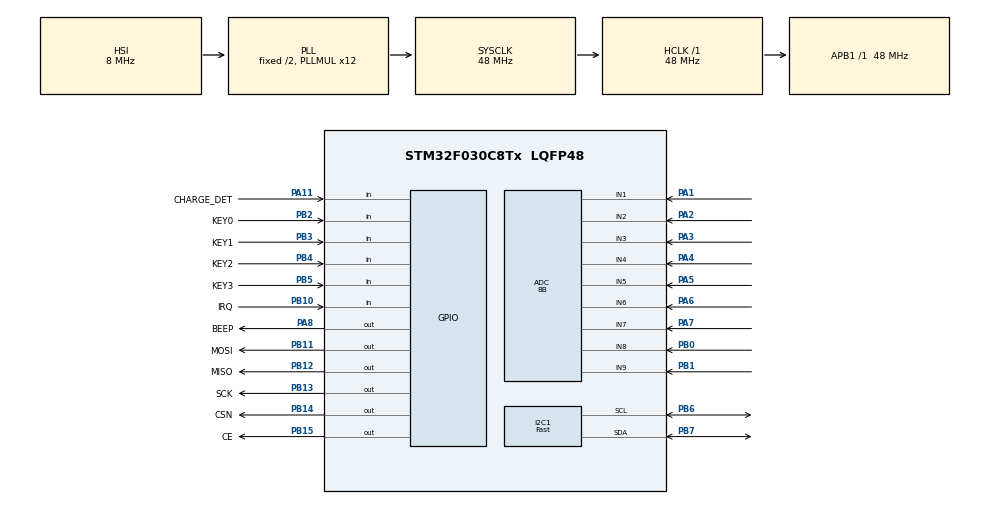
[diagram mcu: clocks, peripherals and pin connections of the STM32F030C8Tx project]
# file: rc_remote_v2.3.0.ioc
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ADC.AWD1LowThreshold=0
ADC.Channel-0\#ChannelRegularConversion=ADC_CHANNEL_1
ADC.Channel-1\#ChannelRegularConversion=ADC_CHANNEL_2
ADC.Channel-2\#ChannelRegularConversion=ADC_CHANNEL_3
ADC.Channel-3\#ChannelRegularConversion=ADC_CHANNEL_4
ADC.Channel-4\#ChannelRegularConversion=ADC_CHANNEL_5
ADC.Channel-5\#ChannelRegularConversion=ADC_CHANNEL_6
ADC.Channel-6\#ChannelRegularConversion=ADC_CHANNEL_7
ADC.Channel-7\#ChannelRegularConversion=ADC_CHANNEL_8
ADC.Channel-8\#ChannelRegularConversion=ADC_CHANNEL_9
ADC.Channel-IN1=ADC_CHANNEL_1
ADC.Channel-IN2=ADC_CHANNEL_2
ADC.Channel-IN3=ADC_CHANNEL_3
ADC.Channel-IN4=ADC_CHANNEL_4
ADC.Channel-IN5=ADC_CHANNEL_5
ADC.Channel-IN6=ADC_CHANNEL_6
ADC.Channel-IN7=ADC_CHANNEL_7
ADC.Channel-IN8=ADC_CHANNEL_8
ADC.Channel-IN9=ADC_CHANNEL_9
ADC.ClockPrescaler=ADC_CLOCK_ASYNC_DIV1
ADC.ContinuousConvMode=ENABLE
ADC.DMAContinuousRequests=ENABLE
ADC.DataAlign=ADC_DATAALIGN_RIGHT
ADC.DiscontinuousConvMode=DISABLE
ADC.EOCSelection=ADC_EOC_SINGLE_CONV
ADC.EnableAnalogWatchDog=false
ADC.ExternalTrigConv=ADC_SOFTWARE_START
ADC.ExternalTrigConvEdge=ADC_EXTERNALTRIGCONVEDGE_NONE
ADC.LowPowerAutoPowerOff=DISABLE
ADC.LowPowerAutoWait=DISABLE
ADC.NbrOfConversion=9
ADC.NbrOfConversionFlag=1
ADC.Overrun=ADC_OVR_DATA_PRESERVED
ADC.Rank-0\#ChannelRegularConversion=1
ADC.Rank-1\#ChannelRegularConversion=2
ADC.Rank-2\#ChannelRegularConversion=3
ADC.Rank-3\#ChannelRegularConversion=4
ADC.Rank-4\#ChannelRegularConversion=5
ADC.Rank-5\#ChannelRegularConversion=6
ADC.Rank-6\#ChannelRegularConversion=7
ADC.Rank-7\#ChannelRegularConversion=8
ADC.Rank-8\#ChannelRegularConversion=9
ADC.Resolution=ADC_RESOLUTION_8B
ADC.SamplingTime=ADC_SAMPLETIME_239CYCLES_5
ADC.ScanConvMode=ADC_SCAN_DIRECTION_FORWARD
ADC.master=1
Dma.ADC.0.Direction=DMA_PERIPH_TO_MEMORY
Dma.ADC.0.Instance=DMA1_Channel1
Dma.ADC.0.MemDataAlignment=DMA_MDATAALIGN_BYTE
Dma.ADC.0.MemInc=DMA_MINC_ENABLE
Dma.ADC.0.Mode=DMA_CIRCULAR
Dma.ADC.0.PeriphDataAlignment=DMA_PDATAALIGN_BYTE
Dma.ADC.0.PeriphInc=DMA_PINC_DISABLE
Dma.ADC.0.Priority=DMA_PRIORITY_LOW
Dma.Request0=ADC
I2C1.AddressingMode=I2C_ADDRESSINGMODE_7BIT
I2C1.Analog_Filter=I2C_ANALOGFILTER_ENABLE
I2C1.DualAddressMode=I2C_DUALADDRESS_DISABLE
I2C1.GeneralCallMode=I2C_GENERALCALL_DISABLE
I2C1.I2C_Coeff_DF=0
I2C1.I2C_Fall_Time=0
I2C1.I2C_Rise_Time=0
I2C1.I2C_Speed_Mode=I2C_Fast
I2C1.NoStretchMode=I2C_NOSTRETCH_DISABLE
I2C1.OwnAddress=0
I2C1.Speed=400
I2C1.Timing=0x0000020B
Mcu.Family=STM32F0
Mcu.Name=STM32F030C8Tx
Mcu.Package=LQFP48
NVIC.DMA1_Channel1_IRQn=true\:0\:0\:false\:false\:true\:false\:true\:true
NVIC.TIM16_IRQn=true\:0\:0\:false\:false\:true\:true\:true\:true
PA1.Mode=IN1
PA1.Signal=ADC_IN1
PA11.GPIO_Label=CHARGE_DET
PA11.GPIO_PuPd=GPIO_PULLUP
PA11.Signal=GPIO_Input
PA13.Mode=Serial_Wire
PA13.Signal=SYS_SWDIO
PA14.Mode=Serial_Wire
PA14.Signal=SYS_SWCLK
PA2.Mode=IN2
PA2.Signal=ADC_IN2
PA3.Mode=IN3
PA3.Signal=ADC_IN3
PA4.Mode=IN4
PA4.Signal=ADC_IN4
PA5.Mode=IN5
PA5.Signal=ADC_IN5
PA6.Mode=IN6
PA6.Signal=ADC_IN6
PA7.Mode=IN7
PA7.Signal=ADC_IN7
PA8.GPIO_Label=BEEP
PA8.PinState=GPIO_PIN_RESET
PA8.Signal=GPIO_Output
PB0.Mode=IN8
PB0.Signal=ADC_IN8
PB1.Mode=IN9
PB1.Signal=ADC_IN9
PB10.GPIO_Label=IRQ
PB10.Signal=GPIO_Input
PB11.GPIO_Label=MOSI
PB11.Signal=GPIO_Output
PB12.GPIO_Label=MISO
PB12.GPIO_PuPd=GPIO_NOPULL
PB12.GPIO_Speed=GPIO_SPEED_FREQ_HIGH
PB12.PinState=GPIO_PIN_SET
PB12.Signal=GPIO_Output
PB13.GPIO_Label=SCK
PB13.GPIO_Speed=GPIO_SPEED_FREQ_HIGH
PB13.PinState=GPIO_PIN_SET
PB13.Signal=GPIO_Output
PB14.GPIO_Label=CSN
PB14.Signal=GPIO_Output
PB15.GPIO_Label=CE
PB15.Signal=GPIO_Output
PB2.GPIO_Label=KEY0
PB2.GPIO_PuPd=GPIO_PULLUP
PB2.Signal=GPIO_Input
PB3.GPIO_Label=KEY1
PB3.GPIO_PuPd=GPIO_PULLUP
PB3.Signal=GPIO_Input
PB4.GPIO_Label=KEY2
PB4.GPIO_PuPd=GPIO_PULLUP
PB4.Signal=GPIO_Input
PB5.GPIO_Label=KEY3
PB5.GPIO_PuPd=GPIO_PULLUP
PB5.Signal=GPIO_Input
PB6.GPIO_Pu=GPIO_PULLUP
PB6.Mode=I2C
PB6.Signal=I2C1_SCL
PB7.GPIO_Pu=GPIO_PULLUP
PB7.Mode=I2C
PB7.Signal=I2C1_SDA
ProjectManager.HeapSize=0x0
ProjectManager.StackSize=0x400
ProjectManager.TargetToolchain=MDK-ARM V5
RCC.AHBFreq_Value=48000000
RCC.APB1Freq_Value=48000000
RCC.APB1TimFreq_Value=48000000
RCC.FLatency=FLASH_LATENCY_1
RCC.HCLKFreq_Value=48000000
RCC.PLLMUL=RCC_PLL_MUL12
RCC.SYSCLKFreq_VALUE=48000000
RCC.SYSCLKSource=RCC_SYSCLKSOURCE_PLLCLK
TIM16.AutoReloadPreload=TIM_AUTORELOAD_PRELOAD_ENABLE
TIM16.ClockDivision=TIM_CLOCKDIVISION_DIV1
TIM16.CounterMode=TIM_COUNTERMODE_UP
TIM16.Period=10000
TIM16.Prescaler=47
TIM16.RepetitionCounter=0
VP_TIM16_VS_ClockSourceINT.Mode=Enable_Timer
board=custom

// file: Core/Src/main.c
/* USER CODE BEGIN Header */
/**
  ******************************************************************************
  * @file           : main.c
  * @brief          : Main program body
  ******************************************************************************
  * @attention
  *
  * Copyright (c) 2024 STMicroelectronics.
  * All rights reserved.
  *
  * This software is licensed under terms that can be found in the LICENSE file
  * in the root directory of this software component.
  * If no LICENSE file comes with this software, it is provided AS-IS.
  *
  ******************************************************************************
  */
/* USER CODE END Header */
#include "main.h"

/* USER CODE BEGIN Includes */
#include "ci24r1.h"
#include "stdio.h"
#include "SEGGER_RTT.h"
#include "gui.h"

/* USER CODE END Includes */

ADC_HandleTypeDef hadc;
DMA_HandleTypeDef hdma_adc;

I2C_HandleTypeDef hi2c1;

TIM_HandleTypeDef htim16;

void SystemClock_Config(void);
static void MX_GPIO_Init(void);
static void MX_DMA_Init(void);
static void MX_ADC_Init(void);
static void MX_I2C1_Init(void);
static void MX_TIM16_Init(void);

/* USER CODE BEGIN 0 */

#define ADC_CH_CNT 9
#define ADC_AVG_CNT 5

uint8_t adc_value[ADC_CH_CNT * ADC_AVG_CNT] = {0}; // adc dma buffer
void print_buf(uint8_t *buf, uint8_t buflen)
{
  for (int i = 0; i < buflen; i++)
  {
    SEGGER_RTT_printf(0, "%d ", buf[i]);
  }
  SEGGER_RTT_printf(0, "\r\n");
}
u8 adc_get_val(u8 idx)
{
	int sum = 0;
  for(int i=0; i<ADC_AVG_CNT; i++)
  {
    sum += adc_value[idx + i * ADC_CH_CNT];
  }
  return sum/ADC_AVG_CNT;
}

uint8_t TX_ADDRESS[5] = {0x34, 0x43, 0x10, 0x10, 0x01};
uint8_t RX_ADDRESS[5] = {0x34, 0x43, 0x10, 0x10, 0x01};
u8 ci24r1_ready_flag = 0;
uint8_t TxBuf[32] = {0x00}; // nrf sendbuffer

uint8_t ackpayload[32] = {0};
uint8_t ackpayloadlen = 0;

//run in tim interrupt. less time use!!!
void tim_working(void)
{
  static uint32_t timelast = 0;
  uint32_t now = HAL_GetTick();
  if(abs(now - timelast) > 20)
  {
		timelast = now;
    //send ci24r1 packet!!!
    if(ci24r1_ready_flag)
    {
      TxBuf[0] = adc_get_val(0);
      TxBuf[1] = adc_get_val(1);
      TxBuf[2] = 255 - adc_get_val(2);
      TxBuf[3] = 255 - adc_get_val(3);
      TxBuf[4] = adc_get_val(5);
      TxBuf[5] = 255 - adc_get_val(4);
      TxBuf[6] = 255 - adc_get_val(7);
      TxBuf[7] = adc_get_val(6);

      uint8_t rc = CI24R1_Tx(TxBuf, 8);
      CI24R1_ReadACKPload(ackpayload, &ackpayloadlen);
    }

  }
}
/* USER CODE END 0 */

int main(void)
{

  /* MCU Configuration--------------------------------------------------------*/

  /* Reset of all peripherals, Initializes the Flash interface and the Systick. */
  HAL_Init();

  /* Configure the system clock */
  SystemClock_Config();

  /* USER CODE BEGIN SysInit */

  HAL_Delay(100);
  SEGGER_RTT_printf(0, "board init\r\n");
  /* USER CODE END SysInit */

  /* Initialize all configured peripherals */
  MX_GPIO_Init();
  MX_DMA_Init();
  MX_ADC_Init();
  MX_I2C1_Init();
  MX_TIM16_Init();
  /* USER CODE BEGIN 2 */

  gui_init();

  if(HAL_ERROR == HAL_ADCEx_Calibration_Start(&hadc))
  {
    SEGGER_RTT_printf(0, "ADC Calibration error\r\n");
  }
  HAL_ADC_Start_DMA(&hadc, (uint32_t *)adc_value, ADC_CH_CNT * ADC_AVG_CNT);

  while (CI24R1_SPI_Test() == HAL_ERROR)
  {
    HAL_GPIO_WritePin(GPIOA, GPIO_PIN_8, GPIO_PIN_SET);
    HAL_Delay(20);
    HAL_GPIO_WritePin(GPIOA, GPIO_PIN_8, GPIO_PIN_RESET);
    HAL_Delay(1000);
  }
  SEGGER_RTT_printf(0, "ci24r1 test succ\r\n");
  HAL_GPIO_WritePin(GPIOA, GPIO_PIN_8, GPIO_PIN_SET);
  HAL_Delay(100);
  HAL_GPIO_WritePin(GPIOA, GPIO_PIN_8, GPIO_PIN_RESET);

  /* USER CODE END 2 */

  /* Infinite loop */
  /* USER CODE BEGIN WHILE */

  CI24R1_Init();
  CI24R1_SetChannel(122);
  CI24R1_SetTxMode();
  CI24R1_SetTxAddress(TX_ADDRESS);
  CI24R1_SetRxAddress(RX_ADDRESS);
  // Initialization values avoid motor malfunction
  memset(TxBuf, 128, 10);
  ci24r1_ready_flag = 1;

  HAL_TIM_Base_Start_IT(&htim16);
  //uint8_t buflen;
  while (1)
  {
    /* USER CODE END WHILE */

    /* USER CODE BEGIN 3 */

#if 1
    //SEGGER_RTT_printf(0, "tx rc:%#x ackload:%d\r\n", rc,ackpayloadlen);
    //print_buf(ackpayload, ackpayloadlen);

		show_tx_vcc(adc_get_val(8), 0);
    if(ackpayload[1] != 0)
    {
      show_rx_vcc(ackpayload[1], 0);
    }
		if(ackpayload[2] != 0)
    {
      //show_rx_current(ackpayload[0], 0);
      show_rx_limit(ackpayload[2], 0);
    }

#else
    uint8_t rc = CI24R1_Rx(TxBuf, &buflen);
    SEGGER_RTT_printf(0, "rx:%#x\r\n", rc);
    print_buf(TxBuf, buflen);
#endif

    HAL_Delay(50);
  }
  /* USER CODE END 3 */
}

void SystemClock_Config(void)
{
  RCC_OscInitTypeDef RCC_OscInitStruct = {0};
  RCC_ClkInitTypeDef RCC_ClkInitStruct = {0};
  RCC_PeriphCLKInitTypeDef PeriphClkInit = {0};

  /** Initializes the RCC Oscillators according to the specified parameters
  * in the RCC_OscInitTypeDef structure.
  */
  RCC_OscInitStruct.OscillatorType = RCC_OSCILLATORTYPE_HSI|RCC_OSCILLATORTYPE_HSI14;
  RCC_OscInitStruct.HSIState = RCC_HSI_ON;
  RCC_OscInitStruct.HSI14State = RCC_HSI14_ON;
  RCC_OscInitStruct.HSICalibrationValue = RCC_HSICALIBRATION_DEFAULT;
  RCC_OscInitStruct.HSI14CalibrationValue = 16;
  RCC_OscInitStruct.PLL.PLLState = RCC_PLL_ON;
  RCC_OscInitStruct.PLL.PLLSource = RCC_PLLSOURCE_HSI;
  RCC_OscInitStruct.PLL.PLLMUL = RCC_PLL_MUL12;
  RCC_OscInitStruct.PLL.PREDIV = RCC_PREDIV_DIV1;
  if (HAL_RCC_OscConfig(&RCC_OscInitStruct) != HAL_OK)
  {
    Error_Handler();
  }

  /** Initializes the CPU, AHB and APB buses clocks
  */
  RCC_ClkInitStruct.ClockType = RCC_CLOCKTYPE_HCLK|RCC_CLOCKTYPE_SYSCLK
                              |RCC_CLOCKTYPE_PCLK1;
  RCC_ClkInitStruct.SYSCLKSource = RCC_SYSCLKSOURCE_PLLCLK;
  RCC_ClkInitStruct.AHBCLKDivider = RCC_SYSCLK_DIV1;
  RCC_ClkInitStruct.APB1CLKDivider = RCC_HCLK_DIV1;

  if (HAL_RCC_ClockConfig(&RCC_ClkInitStruct, FLASH_LATENCY_1) != HAL_OK)
  {
    Error_Handler();
  }
  PeriphClkInit.PeriphClockSelection = RCC_PERIPHCLK_I2C1;
  PeriphClkInit.I2c1ClockSelection = RCC_I2C1CLKSOURCE_HSI;
  if (HAL_RCCEx_PeriphCLKConfig(&PeriphClkInit) != HAL_OK)
  {
    Error_Handler();
  }
}

static void MX_ADC_Init(void)
{

  ADC_ChannelConfTypeDef sConfig = {0};

  /** Configure the global features of the ADC (Clock, Resolution, Data Alignment and number of conversion)
  */
  hadc.Instance = ADC1;
  hadc.Init.ClockPrescaler = ADC_CLOCK_ASYNC_DIV1;
  hadc.Init.Resolution = ADC_RESOLUTION_8B;
  hadc.Init.DataAlign = ADC_DATAALIGN_RIGHT;
  hadc.Init.ScanConvMode = ADC_SCAN_DIRECTION_FORWARD;
  hadc.Init.EOCSelection = ADC_EOC_SINGLE_CONV;
  hadc.Init.LowPowerAutoWait = DISABLE;
  hadc.Init.LowPowerAutoPowerOff = DISABLE;
  hadc.Init.ContinuousConvMode = ENABLE;
  hadc.Init.DiscontinuousConvMode = DISABLE;
  hadc.Init.ExternalTrigConv = ADC_SOFTWARE_START;
  hadc.Init.ExternalTrigConvEdge = ADC_EXTERNALTRIGCONVEDGE_NONE;
  hadc.Init.DMAContinuousRequests = ENABLE;
  hadc.Init.Overrun = ADC_OVR_DATA_PRESERVED;
  if (HAL_ADC_Init(&hadc) != HAL_OK)
  {
    Error_Handler();
  }

  /** Configure for the selected ADC regular channel to be converted.
  */
  sConfig.Channel = ADC_CHANNEL_1;
  sConfig.Rank = ADC_RANK_CHANNEL_NUMBER;
  sConfig.SamplingTime = ADC_SAMPLETIME_239CYCLES_5;
  if (HAL_ADC_ConfigChannel(&hadc, &sConfig) != HAL_OK)
  {
    Error_Handler();
  }

  /** Configure for the selected ADC regular channel to be converted.
  */
  sConfig.Channel = ADC_CHANNEL_2;
  if (HAL_ADC_ConfigChannel(&hadc, &sConfig) != HAL_OK)
  {
    Error_Handler();
  }

  /** Configure for the selected ADC regular channel to be converted.
  */
  sConfig.Channel = ADC_CHANNEL_3;
  if (HAL_ADC_ConfigChannel(&hadc, &sConfig) != HAL_OK)
  {
    Error_Handler();
  }

  /** Configure for the selected ADC regular channel to be converted.
  */
  sConfig.Channel = ADC_CHANNEL_4;
  if (HAL_ADC_ConfigChannel(&hadc, &sConfig) != HAL_OK)
  {
    Error_Handler();
  }

  /** Configure for the selected ADC regular channel to be converted.
  */
  sConfig.Channel = ADC_CHANNEL_5;
  if (HAL_ADC_ConfigChannel(&hadc, &sConfig) != HAL_OK)
  {
    Error_Handler();
  }

  /** Configure for the selected ADC regular channel to be converted.
  */
  sConfig.Channel = ADC_CHANNEL_6;
  if (HAL_ADC_ConfigChannel(&hadc, &sConfig) != HAL_OK)
  {
    Error_Handler();
  }

  /** Configure for the selected ADC regular channel to be converted.
  */
  sConfig.Channel = ADC_CHANNEL_7;
  if (HAL_ADC_ConfigChannel(&hadc, &sConfig) != HAL_OK)
  {
    Error_Handler();
  }

  /** Configure for the selected ADC regular channel to be converted.
  */
  sConfig.Channel = ADC_CHANNEL_8;
  if (HAL_ADC_ConfigChannel(&hadc, &sConfig) != HAL_OK)
  {
    Error_Handler();
  }

  /** Configure for the selected ADC regular channel to be converted.
  */
  sConfig.Channel = ADC_CHANNEL_9;
  if (HAL_ADC_ConfigChannel(&hadc, &sConfig) != HAL_OK)
  {
    Error_Handler();
  }

}

static void MX_I2C1_Init(void)
{

  hi2c1.Instance = I2C1;
  hi2c1.Init.Timing = 0x0000020B;
  hi2c1.Init.OwnAddress1 = 0;
  hi2c1.Init.AddressingMode = I2C_ADDRESSINGMODE_7BIT;
  hi2c1.Init.DualAddressMode = I2C_DUALADDRESS_DISABLE;
  hi2c1.Init.OwnAddress2 = 0;
  hi2c1.Init.OwnAddress2Masks = I2C_OA2_NOMASK;
  hi2c1.Init.GeneralCallMode = I2C_GENERALCALL_DISABLE;
  hi2c1.Init.NoStretchMode = I2C_NOSTRETCH_DISABLE;
  if (HAL_I2C_Init(&hi2c1) != HAL_OK)
  {
    Error_Handler();
  }

  /** Configure Analogue filter
  */
  if (HAL_I2CEx_ConfigAnalogFilter(&hi2c1, I2C_ANALOGFILTER_ENABLE) != HAL_OK)
  {
    Error_Handler();
  }

  /** Configure Digital filter
  */
  if (HAL_I2CEx_ConfigDigitalFilter(&hi2c1, 0) != HAL_OK)
  {
    Error_Handler();
  }

}

static void MX_TIM16_Init(void)
{

  htim16.Instance = TIM16;
  htim16.Init.Prescaler = 47;
  htim16.Init.CounterMode = TIM_COUNTERMODE_UP;
  htim16.Init.Period = 10000;
  htim16.Init.ClockDivision = TIM_CLOCKDIVISION_DIV1;
  htim16.Init.RepetitionCounter = 0;
  htim16.Init.AutoReloadPreload = TIM_AUTORELOAD_PRELOAD_ENABLE;
  if (HAL_TIM_Base_Init(&htim16) != HAL_OK)
  {
    Error_Handler();
  }

}

static void MX_DMA_Init(void)
{

  /* DMA controller clock enable */
  __HAL_RCC_DMA1_CLK_ENABLE();

  /* DMA interrupt init */
  /* DMA1_Channel1_IRQn interrupt configuration */
  HAL_NVIC_SetPriority(DMA1_Channel1_IRQn, 0, 0);
  HAL_NVIC_EnableIRQ(DMA1_Channel1_IRQn);

}

static void MX_GPIO_Init(void)
{
  GPIO_InitTypeDef GPIO_InitStruct = {0};

  /* GPIO Ports Clock Enable */
  __HAL_RCC_GPIOA_CLK_ENABLE();
  __HAL_RCC_GPIOB_CLK_ENABLE();

  /*Configure GPIO pin Output Level */
  HAL_GPIO_WritePin(GPIOB, MOSI_Pin|CSN_Pin|CE_Pin, GPIO_PIN_RESET);

  /*Configure GPIO pin Output Level */
  HAL_GPIO_WritePin(GPIOB, MISO_Pin|SCK_Pin, GPIO_PIN_SET);

  /*Configure GPIO pin Output Level */
  HAL_GPIO_WritePin(BEEP_GPIO_Port, BEEP_Pin, GPIO_PIN_RESET);

  /*Configure GPIO pins : KEY0_Pin KEY1_Pin KEY2_Pin KEY3_Pin */
  GPIO_InitStruct.Pin = KEY0_Pin|KEY1_Pin|KEY2_Pin|KEY3_Pin;
  GPIO_InitStruct.Mode = GPIO_MODE_INPUT;
  GPIO_InitStruct.Pull = GPIO_PULLUP;
  HAL_GPIO_Init(GPIOB, &GPIO_InitStruct);

  /*Configure GPIO pin : IRQ_Pin */
  GPIO_InitStruct.Pin = IRQ_Pin;
  GPIO_InitStruct.Mode = GPIO_MODE_INPUT;
  GPIO_InitStruct.Pull = GPIO_NOPULL;
  HAL_GPIO_Init(IRQ_GPIO_Port, &GPIO_InitStruct);

  /*Configure GPIO pins : MOSI_Pin CSN_Pin CE_Pin */
  GPIO_InitStruct.Pin = MOSI_Pin|CSN_Pin|CE_Pin;
  GPIO_InitStruct.Mode = GPIO_MODE_OUTPUT_PP;
  GPIO_InitStruct.Pull = GPIO_NOPULL;
  GPIO_InitStruct.Speed = GPIO_SPEED_FREQ_LOW;
  HAL_GPIO_Init(GPIOB, &GPIO_InitStruct);

  /*Configure GPIO pins : MISO_Pin SCK_Pin */
  GPIO_InitStruct.Pin = MISO_Pin|SCK_Pin;
  GPIO_InitStruct.Mode = GPIO_MODE_OUTPUT_PP;
  GPIO_InitStruct.Pull = GPIO_NOPULL;
  GPIO_InitStruct.Speed = GPIO_SPEED_FREQ_HIGH;
  HAL_GPIO_Init(GPIOB, &GPIO_InitStruct);

  /*Configure GPIO pin : BEEP_Pin */
  GPIO_InitStruct.Pin = BEEP_Pin;
  GPIO_InitStruct.Mode = GPIO_MODE_OUTPUT_PP;
  GPIO_InitStruct.Pull = GPIO_NOPULL;
  GPIO_InitStruct.Speed = GPIO_SPEED_FREQ_LOW;
  HAL_GPIO_Init(BEEP_GPIO_Port, &GPIO_InitStruct);

  /*Configure GPIO pin : CHARGE_DET_Pin */
  GPIO_InitStruct.Pin = CHARGE_DET_Pin;
  GPIO_InitStruct.Mode = GPIO_MODE_INPUT;
  GPIO_InitStruct.Pull = GPIO_PULLUP;
  HAL_GPIO_Init(CHARGE_DET_GPIO_Port, &GPIO_InitStruct);

}

void Error_Handler(void)
{
  __disable_irq();
  while (1)
  {
  }
}
